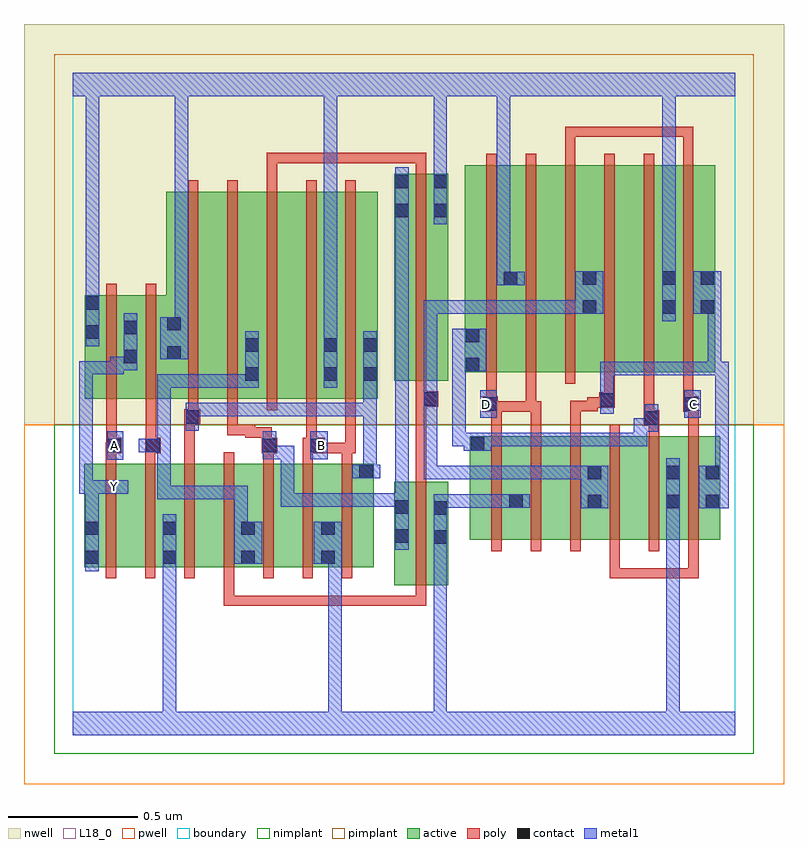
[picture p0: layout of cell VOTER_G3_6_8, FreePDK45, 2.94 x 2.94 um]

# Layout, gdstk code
import gdstk
lib = gdstk.Library(unit=1e-6, precision=1e-09)
def R(c, l, rs):  # rectangles x0, y0, x1, y1
    for r in rs: c.add(gdstk.rectangle(r[:2], r[2:], *l))
def A(c, l, x, y, w, h, nx, ny, dx, dy):  # array of equal rectangles
    R(c, l, [(x+i*dx, y+j*dy, x+i*dx+w, y+j*dy+h) for i in range(nx) for j in range(ny)])
active = (1, 0)
pwell = (2, 0)
nwell = (3, 0)
nimplant = (4, 0)
pimplant = (5, 0)
poly = (9, 0)
contact = (10, 0)
metal1 = (11, 0)
L18_0 = (18, 0)
boundary = (235, 0)

voter_g3_6_8 = lib.new_cell('VOTER_G3_6_8')
R(voter_g3_6_8, active, [(1.242,0.58,1.302,0.98), (1.242,0.58,1.45,0.98), (1.39,0.58,1.45,0.948), (0.044,0.65,0.104,1.05), (0.044,0.65,0.224,1.05), (0.224,0.65,0.404,1.05), (0.344,0.65,0.404,1.05), (0.344,0.65,0.528,1.05), (0.528,0.65,0.708,1.05), (0.648,0.65,0.708,1.05), (0.648,0.65,0.832,1.05), (0.832,0.65,1.016,1.05), (0.956,0.65,1.016,1.05), (0.956,0.65,1.164,1.05), (1.104,0.65,1.164,1.05), (1.534,0.756,1.594,1.156), (1.534,0.756,1.742,1.156), (1.682,0.756,1.866,1.156), (1.682,0.756,1.742,0.936), (1.866,0.756,2.046,1.156), (1.986,0.756,2.046,1.046), (1.986,0.756,2.17,1.156), (2.17,0.756,2.35,1.156), (2.29,0.756,2.502,1.156), (2.29,0.756,2.35,1.046), (2.442,0.756,2.502,1.156), (0.046,1.3,0.106,1.7), (0.046,1.3,0.254,1.7), (0.194,1.3,0.422,1.7), (0.362,1.3,0.542,2.1), (0.542,1.3,0.722,2.1), (0.662,1.3,0.846,2.1), (0.846,1.3,1.026,2.1), (0.966,1.3,1.178,2.1), (1.118,1.3,1.178,2.044), (0.662,1.366,0.722,2.044), (0.966,1.366,1.026,2.044), (1.242,1.37,1.302,2.17), (1.242,1.37,1.45,2.17), (1.514,1.402,1.722,2.202), (1.514,1.402,1.574,2.044), (1.662,1.402,1.846,2.202), (1.846,1.402,2.026,2.202), (1.966,1.402,2.15,2.202), (2.15,1.402,2.334,2.202), (2.274,1.402,2.482,2.202), (2.422,1.402,2.482,2.202), (1.966,1.404,2.026,2.202), (0.194,1.434,0.254,1.644), (0.362,1.448,0.422,1.66), (1.39,1.452,1.45,2.17), (2.274,1.526,2.334,2.202), (1.662,1.58,1.722,2.202)])
R(voter_g3_6_8, pwell, [(-0.188,-0.188,2.748,1.2)])
R(voter_g3_6_8, nwell, [(-0.188,1.2,2.748,2.748)])
R(voter_g3_6_8, nimplant, [(-0.072,-0.072,2.632,1.2)])
R(voter_g3_6_8, pimplant, [(-0.072,1.2,2.632,2.632)])
A(voter_g3_6_8, poly, 0.828, 0.5, 0.04, 0.04, 3, 1, 0.106, 0)
A(voter_g3_6_8, poly, 0.828, 0.5, 0.146, 0.04, 3, 1, 0.106, 0)
A(voter_g3_6_8, poly, 0.128, 0.606, 0.04, 0.488, 7, 1, 0.152, 0)
A(voter_g3_6_8, poly, 1.618, 0.712, 0.04, 0.488, 6, 1, 0.152, 0)
A(voter_g3_6_8, poly, 0.736, 1.054, 0.04, 0.076, 3, 1, 0.152, 0)
A(voter_g3_6_8, poly, 0.446, 1.256, 0.04, 0.888, 5, 1, 0.152, 0)
A(voter_g3_6_8, poly, 1.598, 1.358, 0.04, 0.888, 6, 1, 0.152, 0)
R(voter_g3_6_8, poly, [(0.584,0.5,0.624,0.646), (0.584,0.5,0.624,0.54), (0.584,0.5,0.624,0.54), (0.584,0.5,0.624,0.54), (0.584,0.5,0.822,0.54), (0.782,0.5,0.822,0.54), (0.782,0.5,0.868,0.54), (1.04,0.5,1.08,0.54), (1.04,0.5,1.08,0.54), (1.146,0.5,1.186,0.54), (1.146,0.5,1.366,0.54), (1.326,0.5,1.366,0.54), (1.326,0.5,1.366,0.54), (1.326,0.5,1.366,0.54), (1.326,0.5,1.366,0.576), (1.326,0.536,1.366,1.024), (2.074,0.606,2.114,0.752), (2.074,0.606,2.114,0.646), (2.074,0.606,2.292,0.646), (2.252,0.606,2.292,0.646), (2.252,0.606,2.292,0.646), (2.252,0.606,2.292,0.646), (2.252,0.606,2.418,0.646), (2.378,0.606,2.418,0.752), (2.378,0.606,2.418,0.646), (2.378,0.606,2.418,0.646), (2.378,0.606,2.418,0.646), (1.326,0.984,1.366,1.31), (0.128,1.054,0.168,1.13), (0.28,1.054,0.32,1.13), (0.432,1.054,0.472,1.24), (0.128,1.09,0.17,1.13), (0.13,1.09,0.17,1.13), (0.13,1.09,0.19,1.15), (0.28,1.09,0.32,1.13), (0.28,1.09,0.32,1.13), (0.28,1.09,0.34,1.15), (0.73,1.09,0.79,1.15), (0.888,1.09,0.974,1.15), (0.934,1.09,1.08,1.13), (1.04,1.09,1.08,1.13), (1.04,1.09,1.08,1.13), (1.04,1.09,1.094,1.13), (1.054,1.09,1.094,1.13), (1.054,1.09,1.094,1.13), (1.054,1.09,1.094,1.296), (0.13,1.11,0.17,1.296), (0.282,1.11,0.322,1.296), (0.73,1.11,0.77,1.19), (0.902,1.11,0.942,1.15), (0.902,1.11,0.942,1.15), (0.902,1.11,0.942,1.296), (0.666,1.15,0.77,1.19), (0.666,1.15,0.706,1.2), (0.73,1.15,0.77,1.19), (0.598,1.16,0.638,1.2), (0.598,1.16,0.706,1.2), (0.598,1.16,0.638,1.296), (1.618,1.16,1.658,1.29), (1.77,1.16,1.81,1.29), (1.922,1.16,1.962,1.292), (2.226,1.16,2.266,1.236), (2.378,1.16,2.418,1.29), (2.206,1.196,2.266,1.256), (0.432,1.2,0.472,1.24), (0.432,1.2,0.472,1.24), (0.432,1.2,0.492,1.26), (2.206,1.216,2.246,1.256), (2.206,1.216,2.246,1.256), (2.206,1.216,2.246,1.398), (0.446,1.22,0.486,1.296), (1.582,1.25,1.642,1.31), (1.602,1.25,1.642,1.29), (1.602,1.25,1.658,1.29), (1.618,1.25,1.658,1.29), (1.618,1.25,1.658,1.29), (1.618,1.25,1.79,1.29), (1.75,1.25,1.79,1.29), (1.75,1.25,1.79,1.29), (1.75,1.25,1.79,1.398), (1.75,1.25,1.81,1.29), (2.358,1.25,2.418,1.31), (1.922,1.252,1.962,1.292), (1.922,1.252,1.962,1.292), (1.922,1.252,1.962,1.292), (1.922,1.252,2.028,1.292), (1.988,1.252,2.028,1.306), (0.13,1.256,0.17,1.744), (0.282,1.256,0.322,1.744), (1.988,1.266,2.074,1.306), (2.034,1.266,2.094,1.326), (1.326,1.27,1.366,1.31), (1.326,1.27,1.366,1.31), (1.326,1.27,1.412,1.33), (1.598,1.27,1.638,1.398), (2.358,1.27,2.398,1.31), (2.358,1.27,2.398,1.31), (2.358,1.27,2.398,1.398), (2.054,1.286,2.094,1.398), (1.326,1.29,1.366,1.366), (1.326,1.326,1.366,2.214), (0.75,2.104,0.79,2.25), (1.326,2.174,1.366,2.25), (1.902,2.206,1.942,2.352), (2.358,2.206,2.398,2.352), (0.75,2.21,0.79,2.25), (0.75,2.21,0.812,2.25), (0.772,2.21,0.812,2.25), (0.772,2.21,0.974,2.25), (0.934,2.21,0.974,2.25), (0.934,2.21,0.974,2.25), (0.934,2.21,0.974,2.25), (0.934,2.21,1.186,2.25), (1.146,2.21,1.186,2.25), (1.146,2.21,1.186,2.25), (1.146,2.21,1.186,2.25), (1.146,2.21,1.366,2.25), (1.326,2.21,1.366,2.25), (1.326,2.21,1.366,2.25), (1.326,2.21,1.366,2.25), (1.902,2.312,1.942,2.352), (1.902,2.312,1.942,2.352), (1.902,2.312,1.942,2.352), (1.902,2.312,2.114,2.352), (2.074,2.312,2.114,2.352), (2.074,2.312,2.22,2.352), (2.18,2.312,2.22,2.352), (2.18,2.312,2.22,2.352), (2.18,2.312,2.22,2.352), (2.18,2.312,2.398,2.352), (2.358,2.312,2.398,2.352), (2.358,2.312,2.398,2.352), (2.358,2.312,2.398,2.352)])
R(voter_g3_6_8, contact, [(0.048,0.662,0.1,0.714), (0.348,0.662,0.4,0.714), (0.652,0.662,0.704,0.714), (0.96,0.662,1.012,0.714), (1.394,0.74,1.446,0.792), (1.246,0.744,1.298,0.796), (0.048,0.774,0.1,0.826), (0.348,0.774,0.4,0.826), (0.652,0.774,0.704,0.826), (0.96,0.774,1.012,0.826), (1.394,0.852,1.446,0.904), (1.246,0.856,1.298,0.908), (1.99,0.878,2.042,0.93), (2.294,0.878,2.346,0.93), (2.446,0.878,2.498,0.93), (1.686,0.88,1.738,0.932), (1.99,0.99,2.042,1.042), (2.294,0.99,2.346,1.042), (2.446,0.99,2.498,1.042), (1.108,0.994,1.16,1.046), (0.134,1.094,0.186,1.146), (0.284,1.094,0.336,1.146), (0.734,1.094,0.786,1.146), (0.918,1.094,0.97,1.146), (1.538,1.1,1.59,1.152), (2.21,1.2,2.262,1.252), (0.436,1.204,0.488,1.256), (1.586,1.254,1.638,1.306), (2.362,1.254,2.414,1.306), (2.038,1.27,2.09,1.322), (1.356,1.274,1.408,1.326), (0.666,1.37,0.718,1.422), (0.97,1.37,1.022,1.422), (1.122,1.37,1.174,1.422), (1.518,1.406,1.57,1.458), (0.198,1.438,0.25,1.49), (0.366,1.452,0.418,1.504), (0.666,1.482,0.718,1.534), (0.97,1.482,1.022,1.534), (1.122,1.482,1.174,1.534), (1.518,1.518,1.57,1.57), (0.05,1.532,0.102,1.584), (0.198,1.55,0.25,1.602), (0.366,1.564,0.418,1.616), (1.97,1.628,2.022,1.68), (2.278,1.628,2.33,1.68), (2.426,1.628,2.478,1.68), (0.05,1.644,0.102,1.696), (1.666,1.738,1.718,1.79), (1.97,1.74,2.022,1.792), (2.278,1.74,2.33,1.792), (2.426,1.74,2.478,1.792), (1.246,2.002,1.298,2.054), (1.394,2.002,1.446,2.054), (1.246,2.114,1.298,2.166), (1.394,2.114,1.446,2.166)])
R(voter_g3_6_8, metal1, [(0,0,2.56,0.092), (0.348,0.04,0.4,0.092), (0.348,0.04,0.4,0.092), (0.348,0.04,0.4,0.092), (0.348,0.04,0.4,0.092), (0.348,0.04,0.4,0.092), (0.348,0.04,0.4,0.092), (0.348,0.04,0.4,0.092), (0.348,0.04,0.4,0.092), (0.348,0.04,0.4,0.092), (0.348,0.04,0.4,0.092), (0.348,0.04,0.4,0.092), (0.348,0.04,0.4,0.092), (0.348,0.04,0.4,0.686), (0.988,0.04,1.04,0.092), (0.988,0.04,1.04,0.092), (0.988,0.04,1.04,0.092), (0.988,0.04,1.04,0.092), (0.988,0.04,1.04,0.714), (1.394,0.04,1.446,0.092), (1.394,0.04,1.446,0.092), (1.394,0.04,1.446,0.092), (1.394,0.04,1.446,0.092), (1.394,0.04,1.446,0.092), (1.394,0.04,1.446,0.092), (1.394,0.04,1.446,0.764), (2.294,0.04,2.346,0.092), (2.294,0.04,2.346,0.092), (2.294,0.04,2.346,0.092), (2.294,0.04,2.346,0.092), (2.294,0.04,2.346,0.902), (0.048,0.634,0.1,0.854), (0.348,0.634,0.4,0.854), (0.624,0.662,0.732,0.826), (0.932,0.662,1.04,0.826), (0.988,0.662,1.04,0.714), (0.988,0.662,1.04,0.714), (0.988,0.662,1.04,0.714), (0.988,0.662,1.04,0.714), (0.988,0.662,1.04,0.714), (0.988,0.662,1.04,0.714), (0.988,0.662,1.04,0.714), (0.988,0.662,1.04,0.714), (1.394,0.712,1.446,0.764), (1.394,0.712,1.446,0.764), (1.394,0.712,1.446,0.764), (1.394,0.712,1.446,0.764), (1.394,0.712,1.446,0.764), (1.394,0.712,1.446,0.764), (1.394,0.712,1.446,0.932), (1.246,0.716,1.298,0.936), (0.624,0.774,0.676,0.964), (0.048,0.802,0.1,0.986), (2.294,0.85,2.346,0.902), (2.294,0.85,2.346,0.902), (2.294,0.85,2.346,0.902), (2.294,0.85,2.346,0.902), (2.294,0.85,2.346,0.902), (2.294,0.85,2.346,0.902), (2.294,0.85,2.346,0.902), (2.294,0.85,2.346,0.902), (2.294,0.85,2.346,1.07), (1.962,0.878,2.07,1.042), (2.418,0.878,2.534,1.042), (1.394,0.88,1.58,0.932), (1.528,0.88,1.58,0.932), (1.528,0.88,1.58,0.932), (1.528,0.88,1.58,0.932), (1.528,0.88,1.71,0.932), (1.658,0.88,1.766,0.932), (0.804,0.884,0.856,0.936), (0.804,0.884,0.966,0.936), (0.804,0.884,0.856,1.118), (0.914,0.884,0.966,0.936), (0.914,0.884,0.966,0.936), (0.914,0.884,0.966,0.936), (0.914,0.884,0.966,0.936), (0.914,0.884,0.966,0.936), (0.914,0.884,1.188,0.936), (1.136,0.884,1.188,0.936), (1.136,0.884,1.298,0.936), (1.246,0.884,1.298,0.936), (1.246,0.884,1.298,0.936), (1.246,0.884,1.298,2.026), (0.326,0.912,0.378,0.964), (0.326,0.912,0.488,0.964), (0.326,0.912,0.378,1.146), (0.436,0.912,0.488,0.964), (0.436,0.912,0.488,0.964), (0.436,0.912,0.488,0.964), (0.436,0.912,0.676,0.964), (0.624,0.912,0.676,0.964), (0.624,0.912,0.676,0.964), (0.624,0.912,0.676,0.964), (0.026,0.934,0.078,1.446), (0.026,0.934,0.214,0.986), (1.356,0.99,1.408,1.042), (1.356,0.99,1.408,1.042), (1.356,0.99,1.408,1.042), (1.356,0.99,1.58,1.042), (1.356,0.99,1.408,1.298), (1.528,0.99,1.58,1.042), (1.528,0.99,1.58,1.042), (1.528,0.99,1.58,1.042), (1.528,0.99,1.76,1.042), (1.708,0.99,1.76,1.042), (1.708,0.99,1.76,1.042), (1.708,0.99,1.76,1.042), (1.708,0.99,1.76,1.042), (1.708,0.99,1.76,1.042), (1.708,0.99,1.87,1.042), (1.818,0.99,1.87,1.042), (1.818,0.99,1.87,1.042), (1.818,0.99,1.87,1.042), (1.818,0.99,2.014,1.042), (2.482,0.99,2.534,1.444), (2.482,0.99,2.534,1.042), (2.482,0.99,2.534,1.042), (1.08,0.994,1.188,1.046), (1.122,0.994,1.174,1.284), (0.134,1.064,0.196,1.174), (0.734,1.066,0.786,1.174), (0.734,1.066,0.856,1.118), (0.804,1.066,0.856,1.118), (0.918,1.066,0.986,1.174), (0.256,1.094,0.364,1.146), (0.312,1.094,0.378,1.146), (0.326,1.094,0.378,1.146), (0.326,1.094,0.378,1.394), (1.51,1.1,1.618,1.152), (1.51,1.1,1.562,1.168), (1.466,1.116,1.518,1.168), (1.466,1.116,1.518,1.168), (1.466,1.116,1.518,1.458), (1.466,1.116,1.562,1.168), (1.51,1.116,1.562,1.168), (1.51,1.116,1.562,1.168), (1.51,1.116,1.76,1.168), (1.708,1.116,1.76,1.168), (1.708,1.116,1.76,1.168), (1.708,1.116,1.76,1.168), (1.708,1.116,1.87,1.168), (1.818,1.116,1.87,1.168), (1.818,1.116,1.87,1.168), (1.818,1.116,1.87,1.168), (1.818,1.116,1.98,1.168), (1.928,1.116,1.98,1.168), (1.928,1.116,1.98,1.168), (1.928,1.116,1.98,1.168), (1.928,1.116,2.22,1.168), (2.168,1.116,2.22,1.224), (2.168,1.172,2.262,1.224), (2.21,1.172,2.262,1.28), (0.436,1.176,0.488,1.284), (1.574,1.226,1.638,1.334), (2.362,1.226,2.426,1.334), (0.436,1.232,0.488,1.284), (0.436,1.232,0.488,1.284), (0.436,1.232,0.676,1.284), (0.624,1.232,0.676,1.284), (0.624,1.232,0.676,1.284), (0.624,1.232,0.676,1.284), (0.624,1.232,0.856,1.284), (0.804,1.232,0.856,1.284), (0.804,1.232,0.856,1.284), (0.804,1.232,0.856,1.284), (0.804,1.232,1.022,1.284), (0.97,1.232,1.022,1.284), (0.97,1.232,1.022,1.284), (0.97,1.232,1.022,1.284), (0.97,1.232,1.174,1.284), (1.122,1.232,1.174,1.284), (1.122,1.232,1.174,1.284), (1.122,1.232,1.174,1.284), (1.122,1.232,1.174,1.284), (1.122,1.232,1.174,1.284), (1.122,1.232,1.174,1.394), (2.038,1.242,2.09,1.35), (1.356,1.246,1.408,1.298), (1.356,1.246,1.408,1.298), (1.356,1.246,1.408,1.298), (1.356,1.246,1.408,1.298), (1.356,1.246,1.408,1.298), (1.356,1.246,1.408,1.298), (1.356,1.246,1.408,1.354), (1.356,1.246,1.408,1.68), (2.038,1.298,2.09,1.35), (2.038,1.298,2.09,1.444), (0.326,1.342,0.378,1.394), (0.326,1.342,0.488,1.394), (0.436,1.342,0.488,1.394), (0.436,1.342,0.488,1.394), (0.436,1.342,0.488,1.394), (0.436,1.342,0.65,1.394), (0.598,1.342,0.65,1.394), (0.598,1.342,0.718,1.394), (0.666,1.342,0.718,1.562), (0.97,1.342,1.022,1.562), (1.122,1.342,1.174,1.562), (2.038,1.392,2.304,1.444), (2.252,1.392,2.304,1.444), (2.252,1.392,2.33,1.444), (2.278,1.392,2.33,1.444), (2.278,1.392,2.506,1.444), (2.454,1.392,2.506,1.68), (2.454,1.392,2.506,1.444), (2.454,1.392,2.506,1.444), (2.454,1.392,2.534,1.444), (0.026,1.394,0.078,1.446), (0.026,1.394,0.078,1.446), (0.026,1.394,0.078,1.446), (0.026,1.394,0.198,1.446), (0.146,1.394,0.198,1.462), (1.466,1.406,1.598,1.57), (0.146,1.41,0.25,1.462), (0.198,1.41,0.25,1.63), (0.338,1.452,0.446,1.616), (0.05,1.504,0.102,1.724), (0.97,1.51,1.022,1.562), (0.97,1.51,1.022,1.562), (0.97,1.51,1.022,1.562), (0.97,1.51,1.022,1.562), (0.97,1.51,1.022,1.562), (0.97,1.51,1.022,1.562), (0.97,1.51,1.022,2.52), (0.394,1.564,0.446,1.616), (0.394,1.564,0.446,1.616), (0.394,1.564,0.446,1.616), (0.394,1.564,0.446,1.616), (0.394,1.564,0.446,2.52), (2.278,1.6,2.33,1.82), (1.356,1.628,1.408,1.68), (1.356,1.628,1.58,1.68), (1.528,1.628,1.58,1.68), (1.528,1.628,1.58,1.68), (1.528,1.628,1.58,1.68), (1.528,1.628,1.76,1.68), (1.708,1.628,1.76,1.68), (1.708,1.628,1.76,1.68), (1.708,1.628,1.76,1.68), (1.708,1.628,1.76,1.68), (1.708,1.628,1.76,1.68), (1.708,1.628,1.87,1.68), (1.818,1.628,1.87,1.68), (1.818,1.628,1.87,1.68), (1.818,1.628,1.87,1.68), (1.818,1.628,1.994,1.68), (1.942,1.628,2.05,1.792), (2.398,1.628,2.506,1.792), (0.05,1.672,0.102,1.724), (0.05,1.672,0.102,1.724), (0.05,1.672,0.102,1.724), (0.05,1.672,0.102,1.724), (0.05,1.672,0.102,1.724), (0.05,1.672,0.102,1.724), (0.05,1.672,0.102,1.724), (0.05,1.672,0.102,1.724), (0.05,1.672,0.102,2.52), (1.638,1.738,1.69,1.79), (1.638,1.738,1.69,1.79), (1.638,1.738,1.69,1.79), (1.638,1.738,1.69,1.79), (1.638,1.738,1.69,1.79), (1.638,1.738,1.69,1.79), (1.638,1.738,1.69,2.52), (1.638,1.738,1.746,1.79), (2.278,1.768,2.33,1.82), (2.278,1.768,2.33,1.82), (2.278,1.768,2.33,1.82), (2.278,1.768,2.33,1.82), (2.278,1.768,2.33,2.52), (1.246,1.974,1.298,2.026), (1.246,1.974,1.298,2.026), (1.246,1.974,1.298,2.026), (1.246,1.974,1.298,2.026), (1.246,1.974,1.298,2.026), (1.246,1.974,1.298,2.026), (1.246,1.974,1.298,2.194), (1.394,1.974,1.446,2.194), (1.394,2.142,1.446,2.194), (1.394,2.142,1.446,2.194), (1.394,2.142,1.446,2.194), (1.394,2.142,1.446,2.194), (1.394,2.142,1.446,2.194), (1.394,2.142,1.446,2.194), (1.394,2.142,1.446,2.52), (0,2.468,2.56,2.56), (0.05,2.468,0.102,2.52), (0.05,2.468,0.102,2.52), (0.05,2.468,0.102,2.52), (0.05,2.468,0.102,2.52), (0.05,2.468,0.102,2.52), (0.05,2.468,0.102,2.52), (0.05,2.468,0.102,2.52), (0.05,2.468,0.102,2.52), (0.394,2.468,0.446,2.52), (0.394,2.468,0.446,2.52), (0.394,2.468,0.446,2.52), (0.394,2.468,0.446,2.52), (0.97,2.468,1.022,2.52), (0.97,2.468,1.022,2.52), (1.394,2.468,1.446,2.52), (1.394,2.468,1.446,2.52), (1.638,2.468,1.69,2.52), (1.638,2.468,1.69,2.52), (2.278,2.468,2.33,2.52), (2.278,2.468,2.33,2.52), (2.278,2.468,2.33,2.52), (2.278,2.468,2.33,2.52)])
R(voter_g3_6_8, L18_0, [(0,0,2.56,0.092), (0.348,0.04,0.4,0.092), (0.348,0.04,0.4,0.092), (0.348,0.04,0.4,0.092), (0.348,0.04,0.4,0.092), (0.348,0.04,0.4,0.092), (0.348,0.04,0.4,0.092), (0.348,0.04,0.4,0.092), (0.348,0.04,0.4,0.092), (0.348,0.04,0.4,0.092), (0.348,0.04,0.4,0.092), (0.348,0.04,0.4,0.092), (0.348,0.04,0.4,0.092), (0.348,0.04,0.4,0.686), (0.988,0.04,1.04,0.092), (0.988,0.04,1.04,0.092), (0.988,0.04,1.04,0.092), (0.988,0.04,1.04,0.092), (0.988,0.04,1.04,0.714), (1.394,0.04,1.446,0.092), (1.394,0.04,1.446,0.092), (1.394,0.04,1.446,0.092), (1.394,0.04,1.446,0.092), (1.394,0.04,1.446,0.092), (1.394,0.04,1.446,0.092), (1.394,0.04,1.446,0.764), (2.294,0.04,2.346,0.092), (2.294,0.04,2.346,0.092), (2.294,0.04,2.346,0.092), (2.294,0.04,2.346,0.092), (2.294,0.04,2.346,0.902), (0.048,0.634,0.1,0.854), (0.348,0.634,0.4,0.854), (0.932,0.662,1.04,0.826), (0.988,0.662,1.04,0.714), (0.988,0.662,1.04,0.714), (0.988,0.662,1.04,0.714), (0.988,0.662,1.04,0.714), (0.988,0.662,1.04,0.714), (0.988,0.662,1.04,0.714), (0.988,0.662,1.04,0.714), (0.988,0.662,1.04,0.714), (1.394,0.712,1.446,0.932), (1.394,0.712,1.446,0.764), (1.394,0.712,1.446,0.764), (1.394,0.712,1.446,0.764), (1.394,0.712,1.446,0.764), (1.394,0.712,1.446,0.764), (1.394,0.712,1.446,0.764), (0.048,0.802,0.1,0.986), (2.294,0.85,2.346,1.07), (2.294,0.85,2.346,0.902), (2.294,0.85,2.346,0.902), (2.294,0.85,2.346,0.902), (2.294,0.85,2.346,0.902), (2.294,0.85,2.346,0.902), (2.294,0.85,2.346,0.902), (2.294,0.85,2.346,0.902), (2.294,0.85,2.346,0.902), (1.394,0.88,1.58,0.932), (1.528,0.88,1.58,0.932), (1.528,0.88,1.58,0.932), (1.528,0.88,1.58,0.932), (1.528,0.88,1.71,0.932), (1.658,0.88,1.766,0.932), (0.026,0.934,0.214,0.986), (0.026,0.934,0.078,1.446), (0.134,0.934,0.186,0.986), (0.134,1.064,0.196,1.174), (0.918,1.066,0.986,1.174), (0.134,1.094,0.186,1.146), (0.934,1.094,0.986,1.146), (1.574,1.226,1.638,1.334), (2.362,1.226,2.426,1.334), (1.574,1.254,1.626,1.306), (2.374,1.254,2.426,1.306), (0.97,1.342,1.022,1.562), (0.026,1.394,0.078,1.446), (0.026,1.394,0.078,1.446), (0.026,1.394,0.078,1.446), (0.026,1.394,0.198,1.446), (0.146,1.394,0.198,1.462), (0.146,1.41,0.25,1.462), (0.198,1.41,0.25,1.63), (0.338,1.452,0.446,1.616), (0.05,1.504,0.102,1.724), (0.97,1.51,1.022,1.562), (0.97,1.51,1.022,1.562), (0.97,1.51,1.022,1.562), (0.97,1.51,1.022,1.562), (0.97,1.51,1.022,1.562), (0.97,1.51,1.022,1.562), (0.97,1.51,1.022,2.52), (0.394,1.564,0.446,1.616), (0.394,1.564,0.446,1.616), (0.394,1.564,0.446,1.616), (0.394,1.564,0.446,1.616), (0.394,1.564,0.446,2.52), (2.278,1.6,2.33,1.82), (0.05,1.672,0.102,1.724), (0.05,1.672,0.102,1.724), (0.05,1.672,0.102,1.724), (0.05,1.672,0.102,1.724), (0.05,1.672,0.102,1.724), (0.05,1.672,0.102,1.724), (0.05,1.672,0.102,1.724), (0.05,1.672,0.102,1.724), (0.05,1.672,0.102,2.52), (1.638,1.738,1.69,1.79), (1.638,1.738,1.69,1.79), (1.638,1.738,1.69,1.79), (1.638,1.738,1.69,1.79), (1.638,1.738,1.69,1.79), (1.638,1.738,1.69,1.79), (1.638,1.738,1.746,1.79), (1.638,1.738,1.69,2.52), (2.278,1.768,2.33,1.82), (2.278,1.768,2.33,1.82), (2.278,1.768,2.33,1.82), (2.278,1.768,2.33,1.82), (2.278,1.768,2.33,2.52), (1.394,1.974,1.446,2.194), (1.394,2.142,1.446,2.194), (1.394,2.142,1.446,2.194), (1.394,2.142,1.446,2.194), (1.394,2.142,1.446,2.194), (1.394,2.142,1.446,2.194), (1.394,2.142,1.446,2.194), (1.394,2.142,1.446,2.52), (0,2.468,2.56,2.56), (0.05,2.468,0.102,2.52), (0.05,2.468,0.102,2.52), (0.05,2.468,0.102,2.52), (0.05,2.468,0.102,2.52), (0.05,2.468,0.102,2.52), (0.05,2.468,0.102,2.52), (0.05,2.468,0.102,2.52), (0.05,2.468,0.102,2.52), (0.394,2.468,0.446,2.52), (0.394,2.468,0.446,2.52), (0.394,2.468,0.446,2.52), (0.394,2.468,0.446,2.52), (0.97,2.468,1.022,2.52), (0.97,2.468,1.022,2.52), (1.394,2.468,1.446,2.52), (1.394,2.468,1.446,2.52), (1.638,2.468,1.69,2.52), (1.638,2.468,1.69,2.52), (2.278,2.468,2.33,2.52), (2.278,2.468,2.33,2.52), (2.278,2.468,2.33,2.52), (2.278,2.468,2.33,2.52)])
R(voter_g3_6_8, boundary, [(0,0,2.56,2.56)])
voter_g3_6_8.add(gdstk.Label('A', (0.16,1.12), layer=11, texttype=0))
voter_g3_6_8.add(gdstk.Label('B', (0.96,1.12), layer=11, texttype=0))
voter_g3_6_8.add(gdstk.Label('C', (2.4,1.28), layer=11, texttype=0))
voter_g3_6_8.add(gdstk.Label('D', (1.6,1.28), layer=11, texttype=0))
voter_g3_6_8.add(gdstk.Label('Y', (0.16,0.96), layer=11, texttype=0))

lib.write_gds('VOTER_G3_6_8.gds')
